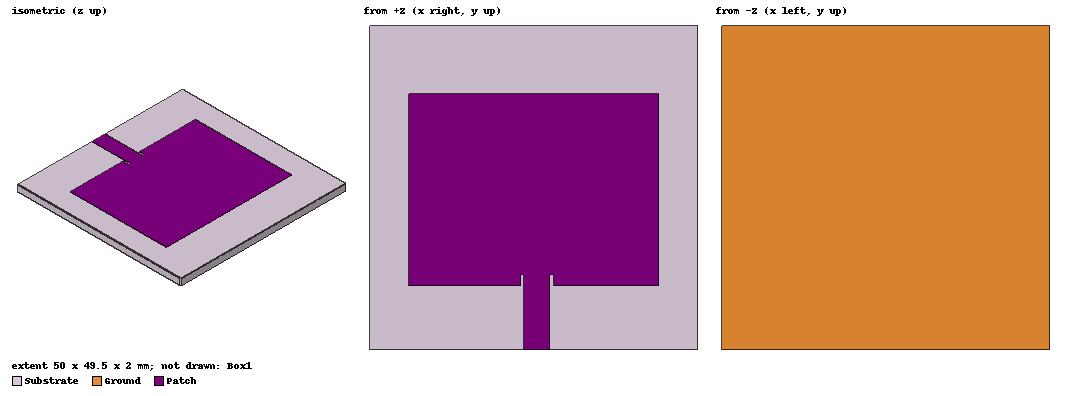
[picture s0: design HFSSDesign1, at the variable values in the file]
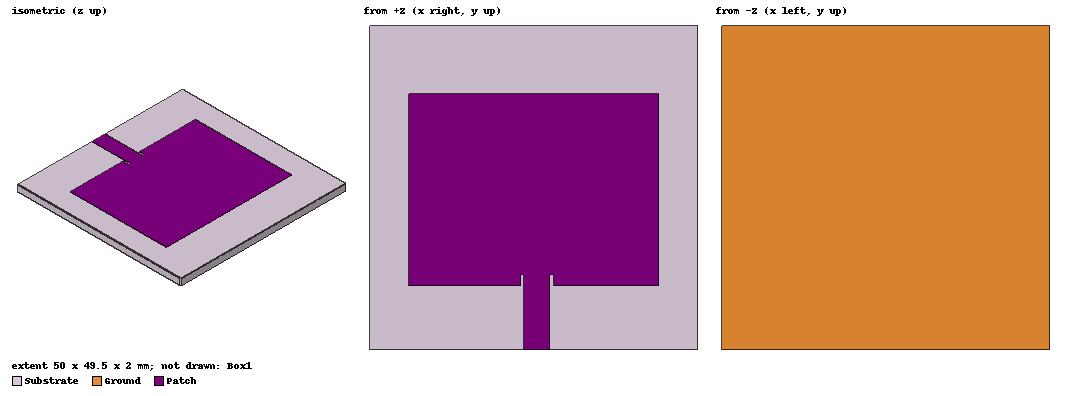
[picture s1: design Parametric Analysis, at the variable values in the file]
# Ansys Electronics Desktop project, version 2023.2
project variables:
  $a = 38.03mm
  $b = 29.28mm
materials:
  vacuum: permittivity=1
  FR4_epoxy: permittivity=4.4 dielectric_loss_tangent=0.02
  air: permittivity=1.0006 permeability=1.0000004

design HFSSDesign1 (HFSS, HFSS Modal Network, model units mm)
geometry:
  Patch = rectangle(corner=(-19.01mm, -14.64mm, 0mm), x_size=38.03mm, y_size=29.28mm)
  Rectangle2 = rectangle(corner=(-2mm, -13mm, 0mm), x_size=5mm, y_size=-5mm)
  Patch.subtract(Rectangle2)
  Rectangle3 = rectangle(corner=(-1.5mm, -13mm, 0mm), x_size=4mm, y_size=-11.5mm)
  Patch.unite(Rectangle3)
  Substrate [FR4_epoxy] = box(corner=(-25mm, 25mm, 0mm), size=(50mm, -49.5mm, -2mm))
  Ground = rectangle(corner=(-25mm, -24.5mm, -2mm), x_size=50mm, y_size=49.5mm)
  Source = rectangle(corner=(2.5mm, -24.5mm, 0mm), z_size=-2mm, x_size=-4mm)
  Box1 [air] = box(corner=(-35mm, 35mm, 10mm), size=(70mm, -70mm, -20mm))
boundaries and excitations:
  Rad1: Radiation Objects=Box1
  PerfE1: Perfect E Objects=Ground
  PerfE2: Perfect E Objects=Patch
  1: Lumped Port Objects=Source LumpedPortType=Modal Modes{Mode1{IntLine{(0.5, -24.5, 0) -> (0.5, -24.5, -2)} CharImp=Zpi RenormImp=50ohm}} Impedance=50ohm
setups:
  Setup1: HfssDriven Frequency=2.4GHz MaxDeltaS=0.02 MaximumPasses=8 MinimumPasses=1 MinimumConvergedPasses=1 PercentRefinement=30 BasisOrder=1 PortAccuracy=2 DrivenSolverType="Direct Solver"
    sweep Sweep: 2GHz to 3GHz, 401 points; Type=Fast SaveFields
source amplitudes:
  1:1: 1V 0deg
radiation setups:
  Infinite Sphere1: Infinite Sphere Theta=0deg..360deg step 2deg Phi=-180deg..180deg step 2deg
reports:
  Gain Plot 2: dB(GainTotal) vs Theta on Setup1 : LastAdaptive, Infinite Sphere1 [Phi=90deg Freq=2.4GHz]
  Gain Plot 4: dB(GainTotal) vs Phi, Theta on Setup1 : LastAdaptive, Infinite Sphere1 [Freq=2.4GHz]
  S Parameter Plot 1: dB(S(1,1)) vs Freq on Setup1 : Sweep
  S Parameter Plot 2: dB(S(1,1)) vs Freq on Setup1 : Sweep
  Gain Plot 5: dB(GainTotal) vs Theta on Setup1 : LastAdaptive, Infinite Sphere1 [Phi=all Freq=2.4GHz]
  Gain Plot 6: dB(GainTotal) vs Theta on Setup1 : LastAdaptive, Infinite Sphere1 [Phi=90deg Freq=2.4GHz]
  Gain Plot 7: dB(GainTotal) vs Phi, Theta on Setup1 : LastAdaptive, Infinite Sphere1 [Freq=2.4GHz]

design Parametric Analysis (HFSS, HFSS Modal Network, model units mm)
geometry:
  Patch = rectangle(corner=(-19.01mm, -14.64mm, 0mm), x_size=$a, y_size=$b)
  Rectangle2 = rectangle(corner=(-2mm, -13mm, 0mm), x_size=5mm, y_size=-5mm)
  Patch.subtract(Rectangle2)
  Rectangle3 = rectangle(corner=(-1.5mm, -13mm, 0mm), x_size=4mm, y_size=-11.5mm)
  Patch.unite(Rectangle3)
  Substrate [FR4_epoxy] = box(corner=(-25mm, 25mm, 0mm), size=(50mm, -49.5mm, -2mm))
  Ground = rectangle(corner=(-25mm, -24.5mm, -2mm), x_size=50mm, y_size=49.5mm)
  Source = rectangle(corner=(2.5mm, -24.5mm, 0mm), z_size=-2mm, x_size=-4mm)
  Box1 [air] = box(corner=(-35mm, 35mm, 10mm), size=(70mm, -70mm, -20mm))
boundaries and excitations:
  Rad1: Radiation Objects=Box1
  PerfE1: Perfect E Objects=Ground
  PerfE2: Perfect E Objects=Patch
  1: Lumped Port Objects=Source LumpedPortType=Modal Modes{Mode1{IntLine{(0.5, -24.5, 0) -> (0.5, -24.5, -2)} CharImp=Zpi RenormImp=50ohm}} Impedance=50ohm
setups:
  Setup1: HfssDriven Frequency=2.4GHz MaxDeltaS=0.02 MaximumPasses=8 MinimumPasses=1 MinimumConvergedPasses=1 PercentRefinement=30 BasisOrder=1 PortAccuracy=2 DrivenSolverType="Direct Solver"
    sweep Sweep: 2GHz to 3GHz, 401 points; Type=Fast SaveFields
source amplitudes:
  1:1: 1V 0deg
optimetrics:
  ParametricSetup1: Parametric Sim._Setups=[Setup1]
    sweep $a: LIN 38mm 38.09mm 0.03mm
    sweep $b: LIN 29mm 29.42mm 0.14mm
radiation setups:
  Infinite Sphere1: Infinite Sphere Theta=0deg..360deg step 2deg Phi=-180deg..180deg step 2deg
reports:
  S Parameter Plot 1: dB(S(1,1)) vs Freq on Setup1 : Sweep [$a=all $b=all]
